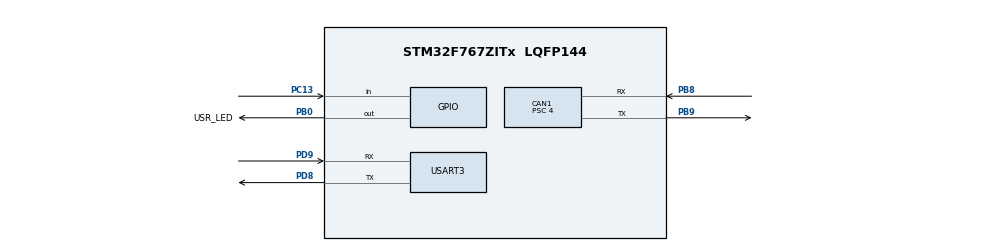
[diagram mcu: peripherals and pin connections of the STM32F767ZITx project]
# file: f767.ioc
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CAN1.BS1=CAN_BS1_8TQ
CAN1.CalculateBaudRate=400000
CAN1.CalculateTimeBit=2500
CAN1.CalculateTimeQuantum=250.0
CAN1.Mode=CAN_MODE_NORMAL
CAN1.Prescaler=4
CAN1.SJW=CAN_SJW_1TQ
CORTEX_M7.default_mode_Activation=1
Mcu.Family=STM32F7
Mcu.Name=STM32F767ZITx
Mcu.Package=LQFP144
NVIC.CAN1_RX0_IRQn=true\:0\:0\:false\:false\:true\:true\:true\:true
NVIC.PriorityGroup=NVIC_PRIORITYGROUP_4
PB0.GPIO_Label=USR_LED
PB0.Signal=GPIO_Output
PB8.Mode=CAN_Activate
PB8.Signal=CAN1_RX
PB9.Mode=CAN_Activate
PB9.Signal=CAN1_TX
PC13.Signal=GPIO_Input
PD8.Mode=Asynchronous
PD8.Signal=USART3_TX
PD9.Mode=Asynchronous
PD9.Signal=USART3_RX
ProjectManager.HeapSize=0x200
ProjectManager.StackSize=0x400
ProjectManager.TargetToolchain=CMake
RCC.HSE_VALUE=25000000
RCC.HSI_VALUE=16000000
RCC.LSE_VALUE=32768
RCC.USBFreq_Value=96000000
RCC.VCOOutputFreq_Value=192000000
USART3.VirtualMode-Asynchronous=VM_ASYNC
board=custom

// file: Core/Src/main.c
/* USER CODE BEGIN Header */
/**
 ******************************************************************************
 * @file           : main.c
 * @brief          : Main program body
 ******************************************************************************
 * @attention
 *
 * Copyright (c) 2024 STMicroelectronics.
 * All rights reserved.
 *
 * This software is licensed under terms that can be found in the LICENSE file
 * in the root directory of this software component.
 * If no LICENSE file comes with this software, it is provided AS-IS.
 *
 ******************************************************************************
 */
/* USER CODE END Header */
#include "main.h"

/* USER CODE BEGIN Includes */
#include <stdbool.h>
#include <stdint.h>
#include <stdio.h>
#include <string.h>

/* USER CODE END Includes */

CAN_HandleTypeDef hcan1;

UART_HandleTypeDef huart3;

/* USER CODE BEGIN PV */
uint8_t ub_key_number = 0;
CAN_RxHeaderTypeDef rx_header;
uint8_t rx_data[8];
CAN_TxHeaderTypeDef tx_header;
uint8_t tx_data[8];
uint32_t tx_mailbox;

/* USER CODE END PV */

void SystemClock_Config(void);
static void MPU_Config(void);
static void MX_GPIO_Init(void);
static void MX_USART3_UART_Init(void);
static void MX_CAN1_Init(void);
/* USER CODE BEGIN PFP */
static void CAN_Config(void);

/* USER CODE END PFP */

int main(void) {

    /* MPU
     * Configuration--------------------------------------------------------*/
    MPU_Config();

    /* MCU
     * Configuration--------------------------------------------------------*/

    /* Reset of all peripherals, Initializes the Flash interface and the
     * Systick. */
    HAL_Init();

    /* Configure the system clock */
    SystemClock_Config();

    /* Initialize all configured peripherals */
    MX_GPIO_Init();
    MX_USART3_UART_Init();
    MX_CAN1_Init();
    /* USER CODE BEGIN 2 */
    CAN_Config();
    uint8_t msg[] = "Hello UART from F767!\r\n";
    uint8_t button_msg[] = "Button toggle\r\n";
    // GPIO_PinState button_state = HAL_GPIO_ReadPin(GPIOC, GPIO_PIN_13);
    bool button_state = false;
    uint32_t last_button_change = 0;
    HAL_GPIO_TogglePin(GPIOA, GPIO_PIN_5);

    /* USER CODE END 2 */

    /* Infinite loop */
    while (1) {

        /* USER CODE BEGIN 3 */
        if (HAL_GPIO_ReadPin(GPIOC, GPIO_PIN_13) == GPIO_PIN_SET &&
            (HAL_GetTick() - last_button_change >= 500)) {
            // HAL_GPIO_WritePin(GPIOA, GPIO_PIN_5, GPIO_PIN_SET);
            button_state = !button_state;
            last_button_change = HAL_GetTick();
            HAL_UART_Transmit(&huart3, button_msg, sizeof(button_msg),
                              HAL_MAX_DELAY);
            HAL_GPIO_TogglePin(GPIOA, GPIO_PIN_5);

            tx_data[0] = ub_key_number++;
            char msg[64];
            snprintf(msg, 64, "ub_key_number: %d\r\n", ub_key_number);
            uint32_t msg_len = strnlen(msg, 64);
            HAL_UART_Transmit(&huart3, (uint8_t *)msg, msg_len, HAL_MAX_DELAY);

            if (HAL_CAN_AddTxMessage(&hcan1, &tx_header, tx_data,
                                     &tx_mailbox) != HAL_OK) {
                HAL_UART_Transmit(&huart3,
                                  (uint8_t *)"failed to send data over can\r\n",
                                  30, HAL_MAX_DELAY);
                for (uint16_t i = 0; i < 50; ++i) {
                    HAL_GPIO_TogglePin(GPIOA, GPIO_PIN_5);
                    HAL_Delay(50);
                }
                Error_Handler();
            }
            HAL_Delay(10);
        }
        HAL_Delay(1);
    }
    /* USER CODE END 3 */
}

void SystemClock_Config(void) {
    RCC_OscInitTypeDef RCC_OscInitStruct = {0};
    RCC_ClkInitTypeDef RCC_ClkInitStruct = {0};

    /** Configure the main internal regulator output voltage
     */
    __HAL_RCC_PWR_CLK_ENABLE();
    __HAL_PWR_VOLTAGESCALING_CONFIG(PWR_REGULATOR_VOLTAGE_SCALE3);

    /** Initializes the RCC Oscillators according to the specified parameters
     * in the RCC_OscInitTypeDef structure.
     */
    RCC_OscInitStruct.OscillatorType = RCC_OSCILLATORTYPE_HSI;
    RCC_OscInitStruct.HSIState = RCC_HSI_ON;
    RCC_OscInitStruct.HSICalibrationValue = RCC_HSICALIBRATION_DEFAULT;
    RCC_OscInitStruct.PLL.PLLState = RCC_PLL_NONE;
    if (HAL_RCC_OscConfig(&RCC_OscInitStruct) != HAL_OK) {
        Error_Handler();
    }

    /** Initializes the CPU, AHB and APB buses clocks
     */
    RCC_ClkInitStruct.ClockType = RCC_CLOCKTYPE_HCLK | RCC_CLOCKTYPE_SYSCLK |
                                  RCC_CLOCKTYPE_PCLK1 | RCC_CLOCKTYPE_PCLK2;
    RCC_ClkInitStruct.SYSCLKSource = RCC_SYSCLKSOURCE_HSI;
    RCC_ClkInitStruct.AHBCLKDivider = RCC_SYSCLK_DIV1;
    RCC_ClkInitStruct.APB1CLKDivider = RCC_HCLK_DIV1;
    RCC_ClkInitStruct.APB2CLKDivider = RCC_HCLK_DIV1;

    if (HAL_RCC_ClockConfig(&RCC_ClkInitStruct, FLASH_LATENCY_0) != HAL_OK) {
        Error_Handler();
    }
}

static void MX_CAN1_Init(void) {

    hcan1.Instance = CAN1;
    hcan1.Init.Prescaler = 4;
    hcan1.Init.Mode = CAN_MODE_NORMAL;
    hcan1.Init.SyncJumpWidth = CAN_SJW_1TQ;
    hcan1.Init.TimeSeg1 = CAN_BS1_8TQ;
    hcan1.Init.TimeSeg2 = CAN_BS2_1TQ;
    hcan1.Init.TimeTriggeredMode = DISABLE;
    hcan1.Init.AutoBusOff = DISABLE;
    hcan1.Init.AutoWakeUp = DISABLE;
    hcan1.Init.AutoRetransmission = DISABLE;
    hcan1.Init.ReceiveFifoLocked = DISABLE;
    hcan1.Init.TransmitFifoPriority = DISABLE;
    if (HAL_CAN_Init(&hcan1) != HAL_OK) {
        Error_Handler();
    }
}

static void MX_USART3_UART_Init(void) {

    huart3.Instance = USART3;
    huart3.Init.BaudRate = 115200;
    huart3.Init.WordLength = UART_WORDLENGTH_8B;
    huart3.Init.StopBits = UART_STOPBITS_1;
    huart3.Init.Parity = UART_PARITY_NONE;
    huart3.Init.Mode = UART_MODE_TX_RX;
    huart3.Init.HwFlowCtl = UART_HWCONTROL_NONE;
    huart3.Init.OverSampling = UART_OVERSAMPLING_16;
    huart3.Init.OneBitSampling = UART_ONE_BIT_SAMPLE_DISABLE;
    huart3.AdvancedInit.AdvFeatureInit = UART_ADVFEATURE_NO_INIT;
    if (HAL_UART_Init(&huart3) != HAL_OK) {
        Error_Handler();
    }
}

static void MX_GPIO_Init(void) {
    GPIO_InitTypeDef GPIO_InitStruct = {0};

    /* GPIO Ports Clock Enable */
    __HAL_RCC_GPIOC_CLK_ENABLE();
    __HAL_RCC_GPIOB_CLK_ENABLE();
    __HAL_RCC_GPIOD_CLK_ENABLE();

    /*Configure GPIO pin Output Level */
    HAL_GPIO_WritePin(USR_LED_GPIO_Port, USR_LED_Pin, GPIO_PIN_RESET);

    /*Configure GPIO pin : PC13 */
    GPIO_InitStruct.Pin = GPIO_PIN_13;
    GPIO_InitStruct.Mode = GPIO_MODE_INPUT;
    GPIO_InitStruct.Pull = GPIO_NOPULL;
    HAL_GPIO_Init(GPIOC, &GPIO_InitStruct);

    /*Configure GPIO pin : USR_LED_Pin */
    GPIO_InitStruct.Pin = USR_LED_Pin;
    GPIO_InitStruct.Mode = GPIO_MODE_OUTPUT_PP;
    GPIO_InitStruct.Pull = GPIO_NOPULL;
    GPIO_InitStruct.Speed = GPIO_SPEED_FREQ_LOW;
    HAL_GPIO_Init(USR_LED_GPIO_Port, &GPIO_InitStruct);

}

/* USER CODE BEGIN 4 */
static void CAN_Config(void) {
    HAL_Delay(1000);
    CAN_FilterTypeDef sFilterConfig;

    /*##-2- Configure the CAN Filter
     * ###########################################*/
    sFilterConfig.FilterBank = 0;
    sFilterConfig.FilterIdHigh = 0x0000;
    sFilterConfig.FilterIdLow = 0x0000;
    sFilterConfig.FilterMaskIdHigh = 0x0000;
    sFilterConfig.FilterMaskIdLow = 0x0000;
    sFilterConfig.FilterFIFOAssignment = CAN_RX_FIFO0;
    sFilterConfig.FilterActivation = ENABLE;
    sFilterConfig.FilterMode = CAN_FILTERMODE_IDMASK;
    sFilterConfig.FilterScale = CAN_FILTERSCALE_32BIT;

    if (HAL_CAN_ConfigFilter(&hcan1, &sFilterConfig) != HAL_OK) {
        /* Filter configuration Error */
        Error_Handler();
    }

    HAL_UART_Transmit(&huart3, (uint8_t *)"Starting hcan1!\r\n", 17,
                      HAL_MAX_DELAY);

    /*##-3- Start the CAN peripheral
     * ###########################################*/
    if (HAL_CAN_Start(&hcan1) != HAL_OK) {
        /* Start Error */
        Error_Handler();
    }

    HAL_UART_Transmit(&huart3, (uint8_t *)"Started hcan1!\r\n", 16,
                      HAL_MAX_DELAY);

    /*##-4- Activate CAN RX notification
     * #######################################*/
    if (HAL_CAN_ActivateNotification(&hcan1, CAN_IT_RX_FIFO0_MSG_PENDING) !=
        HAL_OK) {
        /* Notification Error */
        Error_Handler();
    }

    /*##-5- Configure Transmission process
     * #####################################*/
    tx_header.StdId = 0x321;
    tx_header.ExtId = 0x01;
    tx_header.RTR = CAN_RTR_DATA;
    tx_header.IDE = CAN_ID_STD;
    tx_header.DLC = 2;
    tx_header.TransmitGlobalTime = DISABLE;
}

/**
 * @brief  Rx Fifo 0 message pending callback
 * @param  hcan: pointer to a CAN_HandleTypeDef structure that contains
 *         the configuration information for the specified CAN.
 * @retval None
 */
void HAL_CAN_RxFifo0MsgPendingCallback(CAN_HandleTypeDef *hcan) {
    HAL_UART_Transmit(&huart3, (uint8_t *)"CAN Rx Callback triggered!\r\n", 28,
                      HAL_MAX_DELAY);
    /* Get RX message */
    if (HAL_CAN_GetRxMessage(hcan, CAN_RX_FIFO0, &rx_header, rx_data) !=
        HAL_OK) {
        /* Reception Error */
        Error_Handler();
    }

    /* Display LEDx */
    if ((rx_header.StdId == 0x321) && (rx_header.IDE == CAN_ID_STD) &&
        (rx_header.DLC == 2)) {
        // LED_Display(RxData[0]);
        char msg[64];
        snprintf(msg, 64, "Received data on can bus: 0x%02x\r\n", rx_data[0]);
        uint32_t msg_len = strnlen(msg, 64);
        HAL_UART_Transmit(&huart3, (uint8_t *)msg, msg_len, HAL_MAX_DELAY);
    }
}

/* USER CODE END 4 */

/* MPU Configuration */

void MPU_Config(void) {
    MPU_Region_InitTypeDef MPU_InitStruct = {0};

    /* Disables the MPU */
    HAL_MPU_Disable();

    /** Initializes and configures the Region and the memory to be protected
     */
    MPU_InitStruct.Enable = MPU_REGION_ENABLE;
    MPU_InitStruct.Number = MPU_REGION_NUMBER0;
    MPU_InitStruct.BaseAddress = 0x0;
    MPU_InitStruct.Size = MPU_REGION_SIZE_4GB;
    MPU_InitStruct.SubRegionDisable = 0x87;
    MPU_InitStruct.TypeExtField = MPU_TEX_LEVEL0;
    MPU_InitStruct.AccessPermission = MPU_REGION_NO_ACCESS;
    MPU_InitStruct.DisableExec = MPU_INSTRUCTION_ACCESS_DISABLE;
    MPU_InitStruct.IsShareable = MPU_ACCESS_SHAREABLE;
    MPU_InitStruct.IsCacheable = MPU_ACCESS_NOT_CACHEABLE;
    MPU_InitStruct.IsBufferable = MPU_ACCESS_NOT_BUFFERABLE;

    HAL_MPU_ConfigRegion(&MPU_InitStruct);
    /* Enables the MPU */
    HAL_MPU_Enable(MPU_PRIVILEGED_DEFAULT);
}

void Error_Handler(void) {
    /* USER CODE BEGIN Error_Handler_Debug */
    /* User can add his own implementation to report the HAL error return state
     */
    __disable_irq();
    while (1) {
    }
    /* USER CODE END Error_Handler_Debug */
}

#ifdef USE_FULL_ASSERT
/**
 * @brief  Reports the name of the source file and the source line number
 *         where the assert_param error has occurred.
 * @param  file: pointer to the source file name
 * @param  line: assert_param error line source number
 * @retval None
 */
void assert_failed(uint8_t *file, uint32_t line) {
    /* USER CODE BEGIN 6 */
    /* User can add his own implementation to report the file name and line
       number, ex: printf("Wrong parameters value: file %s on line %d\r\n",
       file, line) */
    /* USER CODE END 6 */
}
#endif /* USE_FULL_ASSERT */
